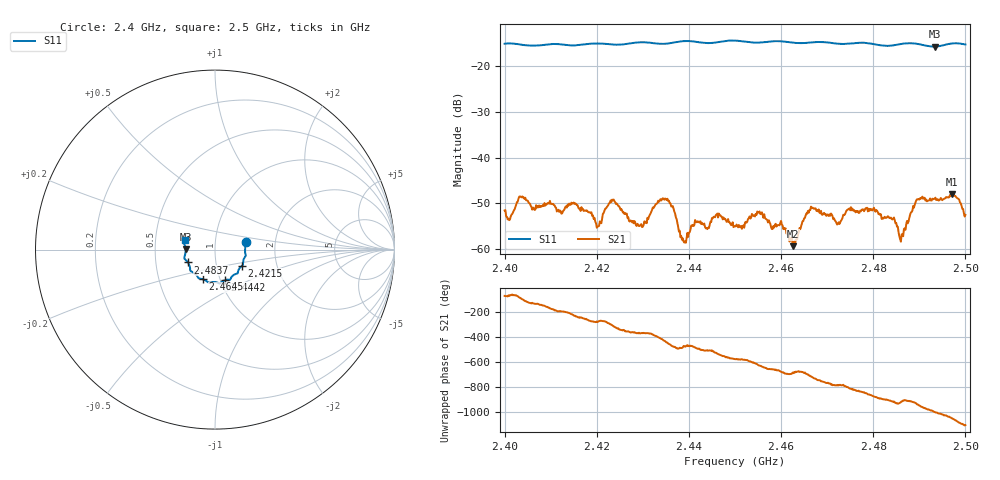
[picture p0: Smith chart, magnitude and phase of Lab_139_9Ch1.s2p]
# Hz S RI R 50
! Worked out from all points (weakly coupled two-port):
!   601 points, 2.4 GHz to 2.5 GHz, reference 50 ohm
!   highest |S21| = -47.94 dB at 2.497 GHz (marker M1); lowest = -59.3 dB at 2.4627 GHz (marker M2)
!   lowest |S11| = -15.7 dB at 2.4933 GHz (marker M3), VSWR 1.39, Z = 35.9 + j0.106 ohm
!   |S11| at or under -10 dB: start of sweep to end of sweep
!   S12 and S22 are empty: the file has one direction only
!   S11 on the Smith chart (normalised r, x): 2.4 GHz: 1.41, +0.12; 2.4215 GHz: 1.33, -0.25; 2.4442 GHz: 1.05, -0.37; 2.4645 GHz: 0.83, -0.29; 2.4837 GHz: 0.73, -0.11; 2.5 GHz: 0.71, +0.07
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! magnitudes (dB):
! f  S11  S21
! 2.4 GHz  -15.1  -51.5
! 2.4037 GHz  -15.3  -48.7
! 2.4167 GHz  -15.3  -50.8
! 2.4215 GHz  -15.1  -52.1
! 2.4235 GHz  -15.3  -49.3
! 2.4297 GHz  -14.8  -54.5
! 2.4333 GHz  -15.1  -49.4
! 2.4362 GHz  -14.9  -50.7
! 2.4388 GHz  -14.5  -58.3
! 2.4442 GHz  -15.0  -55.3
! 2.45 GHz  -14.4  -55.0
! 2.4553 GHz  -14.9  -51.7
! 2.4627 GHz  -14.9  -59.3
! 2.4645 GHz  -15.0  -54.4
! 2.4667 GHz  -14.8  -51.1
! 2.4833 GHz  -15.6  -52.9
! 2.4837 GHz  -15.5  -53.2
! 2.486 GHz  -15.1  -58.4
! 2.4897 GHz  -15.1  -49.1
! 2.4933 GHz  -15.7  -49.0
! 2.497 GHz  -15.0  -47.9
! 2.5 GHz  -15.3  -52.5
